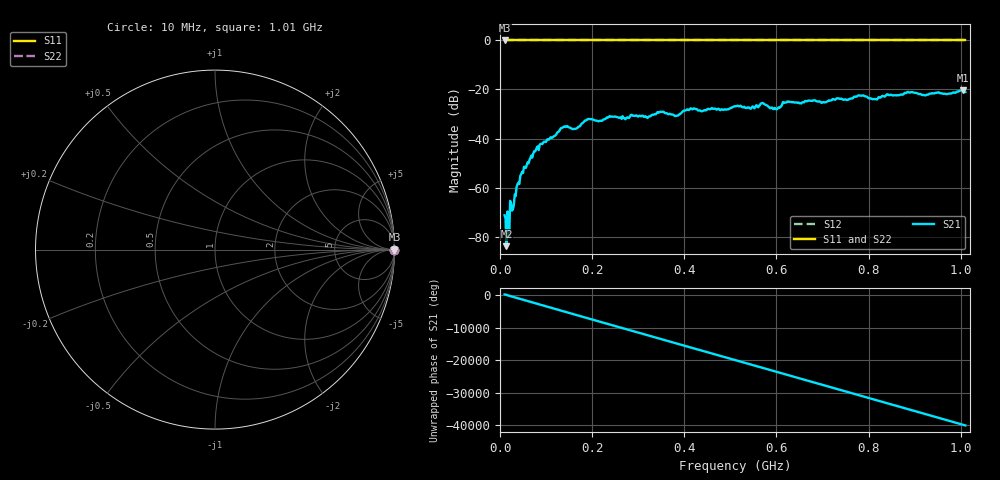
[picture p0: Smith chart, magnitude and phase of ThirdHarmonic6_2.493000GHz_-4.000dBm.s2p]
! 8/17/2025 4:43:43 AM
! C:\ANRITSUVNA\TEMP\TEMP.S2P
! CHANNEL.1
! TR.MEASUREMENT
! RAW.DATA
! RF.CORRECTION.OFF
! AVERAGING.OFF
! IF.BANDWIDTH: 5KHZ
! SWEEPTYPE:  FREQ.SWEEP(Linear)
! Reference Plane Port Info
! PORT:  PORT1  PORT2
! DISTANCE:  0  m  0  m
! TIME:  0  s  0  s
! PHASE.OFFSET:  0  deg.  0  deg.
! LOSS:  0  dB  0  dB
! REF.LOSS:  0  dB  0  dB
! REF.FREQ:  0  Hz  0  Hz
! Power Info
! POWER:  -20  dBm  -20  dBm
! EFF.POWER:  -20  dBm  -20  dBm
! SOURCE.ATTEN:  0  dB  0  dB
! TEST.ATTEN:  0  dB  0  dB
# GHZ S RI R 50.0
! FREQ.GHZ  S11RE  S11IM  S21RE  S21IM  S12RE  S12IM  S22RE  S22IM
!; PortSelection: Port_12
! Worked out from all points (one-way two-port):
!   501 points, 10 MHz to 1.01 GHz, reference 50 ohm
!   highest |S21| = -20.37 dB at 1.004 GHz (marker M1); lowest = -83.9 dB at 14 MHz (marker M2)
!   lowest |S11| = 0.0 dB at 10 MHz (marker M3)
!   |S11| at or under -10 dB: nowhere
!   |S22| runs from 0.0 to 0.0 dB; largest |S21 - S12| = 1.1
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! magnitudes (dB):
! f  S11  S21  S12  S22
! 10 MHz  0.0  -71.3  0.0  0.0
! 14 MHz  0.0  -83.9  0.0  0.0
! 16 MHz  0.0  -69.8  0.0  0.0
! 20 MHz  0.0  -80.2  0.0  0.0
! 24 MHz  0.0  -66.4  0.0  0.0
! 48 MHz  0.0  -53.6  0.0  0.0
! 78 MHz  0.0  -44.7  0.0  0.0
! 136 MHz  0.0  -35.6  0.0  0.0
! 162 MHz  0.0  -36.0  0.0  0.0
! 178 MHz  0.0  -33.8  0.0  0.0
! 194 MHz  0.0  -32.0  0.0  0.0
! 344 MHz  0.0  -29.5  0.0  0.0
! 382 MHz  0.0  -30.8  0.0  0.0
! 416 MHz  0.0  -28.0  0.0  0.0
! 510 MHz  0.0  -26.8  0.0  0.0
! 570 MHz  0.0  -25.5  0.0  0.0
! 598 MHz  0.0  -27.8  0.0  0.0
! 618 MHz  0.0  -25.4  0.0  0.0
! 678 MHz  0.0  -24.7  0.0  0.0
! 844 MHz  0.0  -22.3  0.0  0.0
! 1.004 GHz  0.0  -20.4  0.0  0.0
! 1.01 GHz  0.0  -21.0  0.0  0.0
